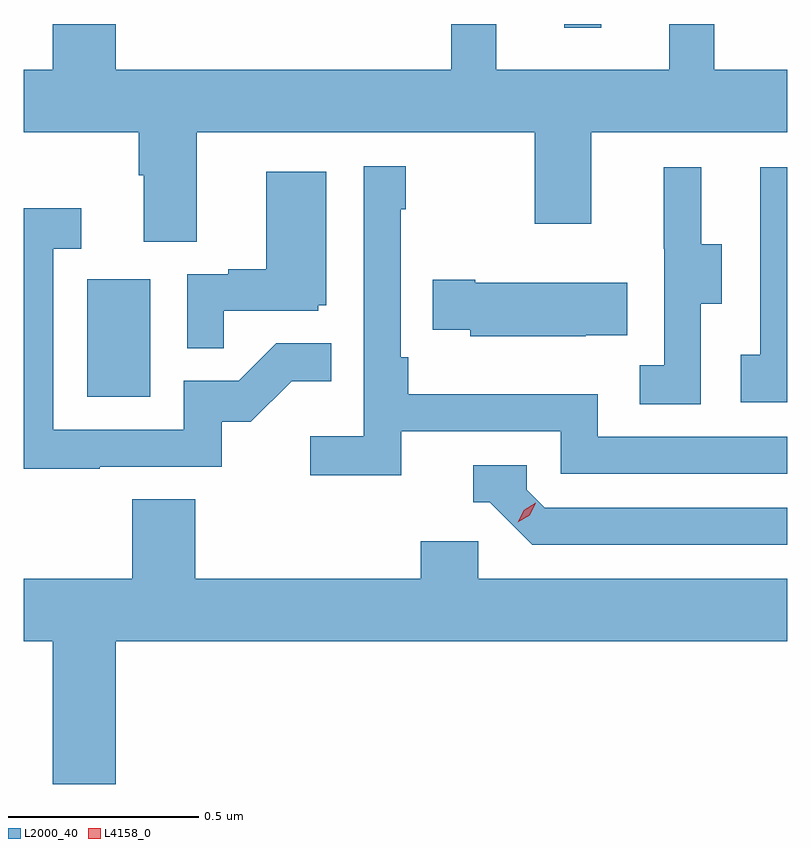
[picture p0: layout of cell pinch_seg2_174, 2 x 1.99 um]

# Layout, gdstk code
import gdstk
lib = gdstk.Library(unit=1e-6, precision=1e-09)
def R(c, l, rs):  # rectangles x0, y0, x1, y1
    for r in rs: c.add(gdstk.rectangle(r[:2], r[2:], *l))
def P(c, l, *ps):  # polygons
    for p in ps: c.add(gdstk.Polygon(p, *l))
L2000_40 = (2000, 40)
L4158_0 = (4158, 0)

pinch_seg2_174 = lib.new_cell('pinch_seg2_174')
R(pinch_seg2_174, L2000_40, [(1088.174,629.628,1088.338,629.935), (1089.423,630.594,1089.52,630.604)])
P(pinch_seg2_174, L2000_40, [(1088.461,630.32),(1089.346,630.32),(1089.346,630.081),(1089.493,630.081),(1089.493,630.32),(1090.007,630.32),(1090.007,630.484),(1089.815,630.484),(1089.815,630.604),(1089.698,630.604),(1089.698,630.484),(1089.245,630.484),(1089.245,630.604),(1089.127,630.604),(1089.127,630.484),(1088.248,630.484),(1088.248,630.604),(1088.084,630.604),(1088.084,630.484),(1088.007,630.484),(1088.007,630.32),(1088.309,630.32),(1088.309,630.208),(1088.321,630.208),(1088.321,630.034),(1088.461,630.034)],
  [(1088.996,629.538),(1089.414,629.538),(1089.414,629.427),(1090.007,629.427),(1090.007,629.523),(1089.51,629.523),(1089.51,629.635),(1089.014,629.635),(1089.014,629.731),(1088.994,629.731),(1088.994,630.119),(1089.007,630.119),(1089.007,630.232),(1088.898,630.232),(1088.898,629.524),(1088.757,629.524),(1088.757,629.422),(1088.996,629.422)],
  [(1090.007,630.229),(1089.936,630.229),(1089.936,629.738),(1089.885,629.738),(1089.885,629.613),(1090.007,629.613)],
  [(1089.78,629.872),(1089.835,629.872),(1089.835,630.027),(1089.781,630.027),(1089.781,630.229),(1089.683,630.229),(1089.683,630.015),(1089.684,630.015),(1089.684,629.711),(1089.621,629.711),(1089.621,629.608),(1089.78,629.608)],
  [(1088.531,629.853),(1088.778,629.853),(1088.778,629.868),(1088.8,629.868),(1088.8,630.217),(1088.642,630.217),(1088.642,629.962),(1088.543,629.962),(1088.543,629.949),(1088.436,629.949),(1088.436,629.755),(1088.531,629.755)],
  [(1088.207,629.445),(1088.526,629.445),(1088.526,629.562),(1088.602,629.562),(1088.709,629.669),(1088.813,629.669),(1088.813,629.768),(1088.669,629.768),(1088.571,629.67),(1088.427,629.67),(1088.427,629.541),(1088.085,629.541),(1088.085,630.015),(1088.158,630.015),(1088.158,630.121),(1088.007,630.121),(1088.007,629.44),(1088.207,629.44)],
  [(1089.479,629.789),(1089.587,629.789),(1089.587,629.926),(1089.19,629.926),(1089.19,629.934),(1089.079,629.934),(1089.079,629.804),(1089.177,629.804),(1089.177,629.786),(1089.479,629.786)],
  [(1090.007,629.337),(1089.372,629.337),(1089.324,629.385),(1089.324,629.448),(1089.185,629.448),(1089.185,629.352),(1089.228,629.352),(1089.339,629.241),(1090.007,629.241)],
  [(1088.248,628.988),(1090.007,628.988),(1090.007,629.152),(1089.198,629.152),(1089.198,629.25),(1089.047,629.25),(1089.047,629.152),(1088.456,629.152),(1088.456,629.36),(1088.291,629.36),(1088.291,629.152),(1088.007,629.152),(1088.007,628.988),(1088.084,628.988),(1088.084,628.614),(1088.248,628.614)])
P(pinch_seg2_174, L4158_0, [(1089.301,629.299),(1089.301,629.299),(1089.317,629.331),(1089.348,629.351),(1089.348,629.351),(1089.348,629.35),(1089.332,629.318),(1089.301,629.299)])

lib.write_gds('pinch_seg2_174.gds')
